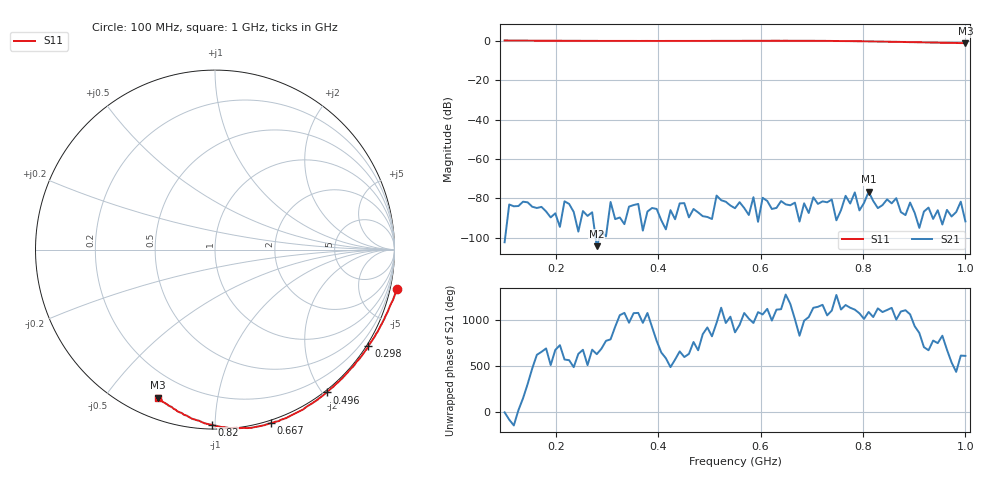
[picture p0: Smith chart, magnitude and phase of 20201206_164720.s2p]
# HZ S RI R 50
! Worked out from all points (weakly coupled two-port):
!   101 points, 100 MHz to 1 GHz, reference 50 ohm
!   highest |S21| = -76.68 dB at 811 MHz (marker M1); lowest = -104.4 dB at 280 MHz (marker M2)
!   lowest |S11| = -1.1 dB at 1 GHz (marker M3), VSWR 16.26, Z = 4.52 - j34.2 ohm
!   |S11| at or under -10 dB: nowhere
!   S12 and S22 are empty: the file has one direction only
!   S11 on the Smith chart (normalised r, x): 100 MHz: -1.53, -9.09; 298 MHz: -0.06, -3.47; 496 MHz: -0.03, -2.05; 667 MHz: -0.02, -1.37; 820 MHz: 0.02, -0.98; 1 GHz: 0.09, -0.68
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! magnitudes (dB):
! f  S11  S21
! 100 MHz  0.3  -102.4
! 253 MHz  0.1  -86.5
! 280 MHz  0.1  -104.4
! 298 MHz  0.1  -99.4
! 406 MHz  0.1  -91.2
! 496 MHz  0.1  -89.5
! 505 MHz  0.1  -90.6
! 514 MHz  0.1  -78.6
! 523 MHz  0.1  -81.0
! 550 MHz  0.1  -85.1
! 667 MHz  0.1  -82.2
! 703 MHz  0.1  -79.5
! 757 MHz  0.0  -86.1
! 766 MHz  0.0  -78.8
! 775 MHz  0.0  -82.7
! 784 MHz  -0.1  -77.0
! 793 MHz  -0.1  -86.2
! 802 MHz  -0.1  -82.4
! 811 MHz  -0.2  -76.7
! 820 MHz  -0.2  -81.4
! 856 MHz  -0.4  -82.6
! 1 GHz  -1.1  -91.8
